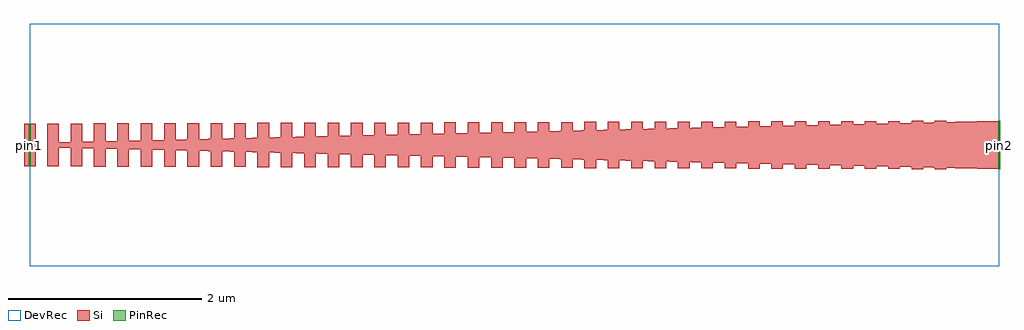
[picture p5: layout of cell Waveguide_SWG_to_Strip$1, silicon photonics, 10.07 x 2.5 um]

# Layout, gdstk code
import gdstk
lib = gdstk.Library(unit=1e-6, precision=1e-09)
def R(c, l, rs):  # rectangles x0, y0, x1, y1
    for r in rs: c.add(gdstk.rectangle(r[:2], r[2:], *l))
def P(c, l, *ps):  # polygons
    for p in ps: c.add(gdstk.Polygon(p, *l))
Si = (1, 0)
PinRec = (1, 10)
DevRec = (68, 0)

waveguide_swg_to_strip_1 = lib.new_cell('Waveguide_SWG_to_Strip$1')
R(waveguide_swg_to_strip_1, Si, [(9.338,-0.249,9.458,0.249), (9.097,-0.248,9.217,0.248), (8.615,-0.247,8.735,0.247), (8.856,-0.247,8.976,0.247), (8.374,-0.246,8.494,0.246), (8.133,-0.245,8.253,0.245), (7.651,-0.244,7.771,0.244), (7.892,-0.244,8.012,0.244), (7.41,-0.243,7.53,0.243), (7.169,-0.242,7.289,0.242), (6.687,-0.241,6.807,0.241), (6.928,-0.241,7.048,0.241), (6.446,-0.24,6.566,0.24), (6.205,-0.239,6.325,0.239), (5.723,-0.238,5.843,0.238), (5.964,-0.238,6.084,0.238), (5.482,-0.237,5.602,0.237), (5.241,-0.236,5.361,0.236), (4.759,-0.235,4.879,0.235), (5,-0.235,5.12,0.235), (4.518,-0.234,4.638,0.234), (4.277,-0.233,4.397,0.233), (3.795,-0.232,3.915,0.232), (4.036,-0.232,4.156,0.232), (3.554,-0.231,3.674,0.231), (3.313,-0.23,3.433,0.23), (2.831,-0.229,2.951,0.229), (3.072,-0.229,3.192,0.229), (2.59,-0.228,2.71,0.228), (2.349,-0.227,2.469,0.227), (1.867,-0.226,1.987,0.226), (2.108,-0.226,2.228,0.226), (1.626,-0.225,1.746,0.225), (1.385,-0.224,1.505,0.224), (0.903,-0.223,1.023,0.223), (1.144,-0.223,1.264,0.223), (0.662,-0.222,0.782,0.222), (0.421,-0.221,0.541,0.221), (-0.06,-0.22,0.059,0.22), (0.18,-0.22,0.3,0.22)])
P(waveguide_swg_to_strip_1, Si, [(10,-0.25),(0.25,-0.03),(0.25,0.03),(10,0.25)])
R(waveguide_swg_to_strip_1, DevRec, [(0,-1.25,10,1.25)])
waveguide_swg_to_strip_1.add(gdstk.FlexPath([(0.01,0),(-0.01,0)], 0.44, ends="flush", simple_path=True, layer=1, datatype=10))  # PinRec
waveguide_swg_to_strip_1.add(gdstk.FlexPath([(9.99,0),(10.01,0)], 0.5, ends="flush", simple_path=True, layer=1, datatype=10))  # PinRec
waveguide_swg_to_strip_1.add(gdstk.Label('pin1', (0,0), layer=1, texttype=10))
waveguide_swg_to_strip_1.add(gdstk.Label('pin2', (10,0), layer=1, texttype=10))

lib.write_gds('Waveguide_SWG_to_Strip_1.gds')
